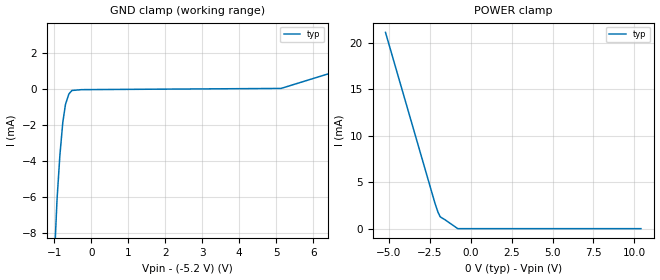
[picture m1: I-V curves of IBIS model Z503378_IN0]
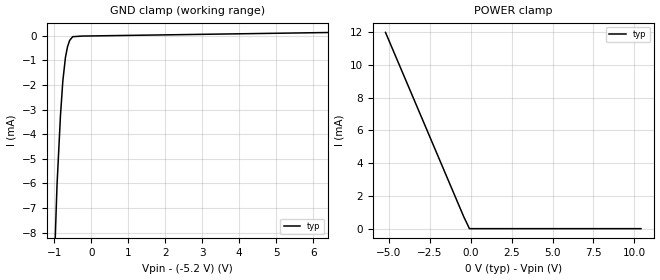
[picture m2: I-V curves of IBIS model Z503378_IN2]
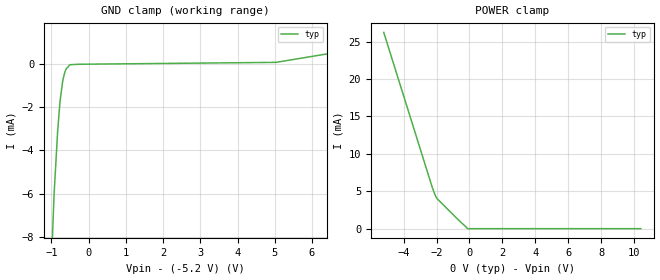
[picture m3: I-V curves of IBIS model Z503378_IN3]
| YOU ARE ONLY AUTHORIZED TO USE THIS SOFTWARE
| ACCORDING TO LICENSOR'S LICENSE RESTRICTIONS.
[IBIS Ver] 3.1
[File Name] mc100e452fn.ibs
[File Rev] 2.0
[Source] Measured and created by ICX Technology
[Date] Friday 7/14/00 9:07:47 AM
[Copyright]
| (C) COPYRIGHT 1993-2000
| MENTOR GRAPHICS CORPORATION
| ICX STANDARD LIBRARY, ICX PROJECT MODELING,
| ICX CUSTOM MODELING, ICX VENDOR MODEL
| ALL RIGHTS RESERVED.
| THE FOLLOWING ARE TRADEMARKS OR SERVICE MARKS OF
| MENTOR GRAPHICS CORPORATION:ICX (R), ICX STANDARD
| LIBRARY(R), ICX PROJECT MODELING(R), ICX CUSTOM
| MODELING(R), qualityIBIS(TM), MODELVIEWER(TM),
| AND MODELEDITOR(TM)
| ALL COPIES OF SOFTWARE, INCLUDING BUT NOT LIMITED TO
| ANY MODIFICATIONS, ENHANCEMENTS OR DERIVATIVE WORKS,
| MUST CONTAIN ALL MENTOR GRAPHICS CORPORATION'S
| NOTICES AND LEGENDS, INCLUDING THOSE EMBEDDED IN
| SOFTWARE AND THOSE AFFIXED TO SOFTWARE MEDIUM
| AND CONTAINER, AS RECEIVED FROM MENTOR GRAPHICS
| CORPORATION.
|  ZAP Model Builder 2.7
[Component] MC100E452FN
[Manufacturer] OnSemiconductor
[Package]
| variable   typ   min   max
R_pkg  .083ohms NA NA
L_pkg  4.299nH NA NA
C_pkg  1.045pF NA NA
[Pin] signal_name  model_name  R_pin  L_pin C_pin
1 VEE POWER .08 3.94n .925p
2 VBB POWER .082 4.14n .995p
3 _D2 Z503378_IN0 .084 4.354n 1.065p
4 D2 Z503378_IN0 .086 4.583n 1.135p
5 D1 Z503378_IN0 .086 4.583n 1.135p
6 _D1 Z503378_IN0 .084 4.354n 1.065p
7 D0 Z503378_IN0 .082 4.14n .995p
8 _D0 Z503378_IN0 .08 3.94n .925p
9 VCCO POWER .082 4.14n .995p
10 Q0 Z503378_OUT0 .084 4.354n 1.065p
11 _Q0 Z503378_OUT1 .086 4.583n 1.135p
12 Q1 Z503378_OUT0 .086 4.583n 1.135p
13 _Q1 Z503378_OUT1 .084 4.354n 1.065p
14 Q2 Z503378_OUT0 .082 4.14n .995p
15 _Q2 Z503378_OUT1 .08 3.94n .925p
16 VCC POWER .082 4.14n .995p
17 _Q3 Z503378_OUT1 .084 4.354n 1.065p
18 Q3 Z503378_OUT0 .086 4.583n 1.135p
19 _Q4 Z503378_OUT1 .086 4.583n 1.135p
20 Q4 Z503378_OUT0 .084 4.354n 1.065p
21 VCCO POWER .082 4.14n .995p
22 _D4 Z503378_IN1 .08 3.94n .925p
23 D4 Z503378_IN0 .082 4.14n .995p
24 _D3 Z503378_IN1 .084 4.354n 1.065p
25 D3 Z503378_IN0 .086 4.583n 1.135p
26 MR Z503378_IN2 .086 4.583n 1.135p
27 CLK Z503378_IN3 .084 4.354n 1.065p
28 _CLK Z503378_IN3 .082 4.14n .995p
| Models and submodels in the file (6): Z503378_IN0 (Input_ECL), Z503378_IN1 (Input_ECL), Z503378_IN2 (Input_ECL), Z503378_IN3 (Input_ECL), Z503378_OUT0 (Output_ECL), Z503378_OUT1 (Output_ECL)
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| (C) COPYRIGHT 1993-2000
| MENTOR GRAPHICS CORPORATION
| ICX STANDARD LIBRARY, ICX PROJECT MODELING,
| ICX CUSTOM MODELING, ICX VENDOR MODEL
| ALL RIGHTS RESERVED.
| THE FOLLOWING ARE TRADEMARKS OR SERVICE MARKS OF
| MENTOR GRAPHICS CORPORATION:ICX (R), ICX STANDARD
| LIBRARY(R), ICX PROJECT MODELING(R), ICX CUSTOM
| MODELING(R), qualityIBIS(TM), MODELVIEWER(TM),
| AND MODELEDITOR(TM)
| ALL COPIES OF SOFTWARE, INCLUDING BUT NOT LIMITED TO
| ANY MODIFICATIONS, ENHANCEMENTS OR DERIVATIVE WORKS,
| MUST CONTAIN ALL MENTOR GRAPHICS CORPORATION'S
| NOTICES AND LEGENDS, INCLUDING THOSE EMBEDDED IN
| SOFTWARE AND THOSE AFFIXED TO SOFTWARE MEDIUM
| AND CONTAINER, AS RECEIVED FROM MENTOR GRAPHICS
| CORPORATION.
| Model Application Version 1.89 2/18/99.
[Model] Z503378_IN0
Model_type Input_ECL
Vinl = -1.475V
Vinh = -1.165V
C_comp 4.000pF NA NA
| variable typ   min   max
[Voltage Range] -5.200V NA NA
[GND Clamp Reference] -5.200V NA NA
[POWER Clamp Reference] 0.000V NA NA
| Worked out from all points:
|   GND clamp passes 1 mA (typ) near -0.71 V on its own axis
[GND Clamp]
-5.2V     -282.4mA   NA         NA
-1.075V   -12.94mA   NA         NA
-926mV    -6.126mA   NA         NA
-849mV    -3.665mA   NA         NA
-770mV    -1.835mA   NA         NA
-698mV    -842uA     NA         NA
-606mV    -261.3uA   NA         NA
-524mV    -65.51uA   NA         NA
-262mV    -19.78uA   NA         NA
5.132V    48.27uA    NA         NA
10.4V     3.385mA    NA         NA
[POWER Clamp]
-5.2V     21.15mA    NA         NA
-2.183V   2.761mA    NA         NA
-1.993V   1.769mA    NA         NA
-1.859V   1.273mA    NA         NA
-1.567V   961.1uA    NA         NA
-783.5mV  0A         NA         NA
10.4V     0A         NA         NA
| (C) COPYRIGHT 1993-2000
| MENTOR GRAPHICS CORPORATION
| ICX STANDARD LIBRARY, ICX PROJECT MODELING,
| ICX CUSTOM MODELING, ICX VENDOR MODEL
| ALL RIGHTS RESERVED.
| THE FOLLOWING ARE TRADEMARKS OR SERVICE MARKS OF
| MENTOR GRAPHICS CORPORATION:ICX (R), ICX STANDARD
| LIBRARY(R), ICX PROJECT MODELING(R), ICX CUSTOM
| MODELING(R), qualityIBIS(TM), MODELVIEWER(TM),
| AND MODELEDITOR(TM)
| ALL COPIES OF SOFTWARE, INCLUDING BUT NOT LIMITED TO
| ANY MODIFICATIONS, ENHANCEMENTS OR DERIVATIVE WORKS,
| MUST CONTAIN ALL MENTOR GRAPHICS CORPORATION'S
| NOTICES AND LEGENDS, INCLUDING THOSE EMBEDDED IN
| SOFTWARE AND THOSE AFFIXED TO SOFTWARE MEDIUM
| AND CONTAINER, AS RECEIVED FROM MENTOR GRAPHICS
| CORPORATION.
| Model Application Version 1.89 2/18/99.
[Model] Z503378_IN2
Model_type Input_ECL
Vinl = -1.475V
Vinh = -1.165V
C_comp 4.000pF NA NA
| variable typ   min   max
[Voltage Range] -5.200V NA NA
[GND Clamp Reference] -5.200V NA NA
[POWER Clamp Reference] 0.000V NA NA
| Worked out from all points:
|   GND clamp passes 1 mA (typ) near -0.71 V on its own axis
[GND Clamp]
-5.2V     -281.4mA   NA         NA
-1.077V   -12.84mA   NA         NA
-927mV    -6.096mA   NA         NA
-834mV    -3.264mA   NA         NA
-770mV    -1.854mA   NA         NA
-698mV    -874.4uA   NA         NA
-643mV    -454.5uA   NA         NA
-586mV    -195.3uA   NA         NA
-504mV    -41.2uA    NA         NA
-252mV    -15.11uA   NA         NA
10.4V     216uA      NA         NA
[POWER Clamp]
-5.2V     11.98mA    NA         NA
-420.5mV  725uA      NA         NA
-150.5mV  163.6uA    NA         NA
-75.25mV  0A         NA         NA
10.4V     0A         NA         NA
| (C) COPYRIGHT 1993-2000
| MENTOR GRAPHICS CORPORATION
| ICX STANDARD LIBRARY, ICX PROJECT MODELING,
| ICX CUSTOM MODELING, ICX VENDOR MODEL
| ALL RIGHTS RESERVED.
| THE FOLLOWING ARE TRADEMARKS OR SERVICE MARKS OF
| MENTOR GRAPHICS CORPORATION:ICX (R), ICX STANDARD
| LIBRARY(R), ICX PROJECT MODELING(R), ICX CUSTOM
| MODELING(R), qualityIBIS(TM), MODELVIEWER(TM),
| AND MODELEDITOR(TM)
| ALL COPIES OF SOFTWARE, INCLUDING BUT NOT LIMITED TO
| ANY MODIFICATIONS, ENHANCEMENTS OR DERIVATIVE WORKS,
| MUST CONTAIN ALL MENTOR GRAPHICS CORPORATION'S
| NOTICES AND LEGENDS, INCLUDING THOSE EMBEDDED IN
| SOFTWARE AND THOSE AFFIXED TO SOFTWARE MEDIUM
| AND CONTAINER, AS RECEIVED FROM MENTOR GRAPHICS
| CORPORATION.
| Model Application Version 1.89 2/18/99.
[Model] Z503378_IN3
Model_type Input_ECL
Vinl = -1.475V
Vinh = -1.165V
C_comp 4.000pF NA NA
| variable typ   min   max
[Voltage Range] -5.200V NA NA
[GND Clamp Reference] -5.200V NA NA
[POWER Clamp Reference] 0.000V NA NA
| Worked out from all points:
|   GND clamp passes 1 mA (typ) near -0.71 V on its own axis
[GND Clamp]
-5.2V     -266.1mA   NA         NA
-1.079V   -12.62mA   NA         NA
-928mV    -5.967mA   NA         NA
-835mV    -3.137mA   NA         NA
-771mV    -1.744mA   NA         NA
-698mV    -788.3uA   NA         NA
-644mV    -396.6uA   NA         NA
-606mV    -235.6uA   NA         NA
-505mV    -38.3uA    NA         NA
-252.5mV  -15.93uA   NA         NA
5.031V    70.65uA    NA         NA
10.4V     1.599mA    NA         NA
[POWER Clamp]
-5.2V     26.22mA    NA         NA
-2.26V    5.536mA    NA         NA
-2.09V    4.517mA    NA         NA
-1.978V   4.041mA    NA         NA
-673.1mV  1.17mA     NA         NA
-224.9mV  259uA      NA         NA
-112.5mV  0A         NA         NA
10.4V     0A         NA         NA
